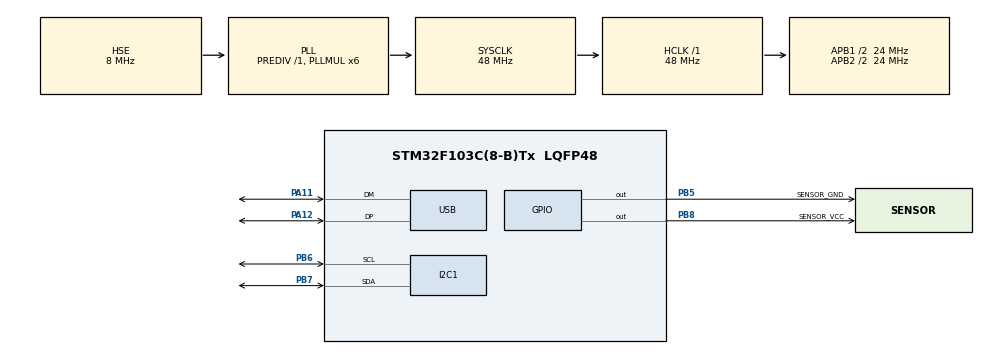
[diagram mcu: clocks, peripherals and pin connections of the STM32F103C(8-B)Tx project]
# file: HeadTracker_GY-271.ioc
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FREERTOS.Tasks01=defaultTask,24,128,StartDefaultTask,Default,NULL,Dynamic,NULL,NULL
FREERTOS.configUSE_NEWLIB_REENTRANT=1
I2C1.I2C_Mode=I2C_Fast
Mcu.Family=STM32F1
Mcu.Name=STM32F103C(8-B)Tx
Mcu.Package=LQFP48
NVIC.PriorityGroup=NVIC_PRIORITYGROUP_4
NVIC.TIM1_UP_IRQn=true\:15\:0\:false\:false\:true\:false\:false\:true\:true
NVIC.TimeBase=TIM1_UP_IRQn
NVIC.TimeBaseIP=TIM1
NVIC.USB_LP_CAN1_RX0_IRQn=true\:5\:0\:false\:false\:true\:true\:false\:true\:true
PA11.Mode=Device
PA11.Signal=USB_DM
PA12.Mode=Device
PA12.Signal=USB_DP
PA13.Mode=Serial_Wire
PA13.Signal=SYS_JTMS-SWDIO
PA14.Mode=Serial_Wire
PA14.Signal=SYS_JTCK-SWCLK
PB5.GPIO_Label=SENSOR_GND
PB5.GPIO_PuPd=GPIO_PULLDOWN
PB5.Signal=GPIO_Output
PB6.Mode=I2C
PB6.Signal=I2C1_SCL
PB7.Mode=I2C
PB7.Signal=I2C1_SDA
PB8.GPIO_Label=SENSOR_VCC
PB8.GPIO_PuPd=GPIO_PULLUP
PB8.Signal=GPIO_Output
PD0-OSC_IN.Mode=HSE-External-Oscillator
PD0-OSC_IN.Signal=RCC_OSC_IN
PD1-OSC_OUT.Mode=HSE-External-Oscillator
PD1-OSC_OUT.Signal=RCC_OSC_OUT
ProjectManager.HeapSize=0x200
ProjectManager.StackSize=0x400
ProjectManager.TargetToolchain=STM32CubeIDE
RCC.AHBFreq_Value=48000000
RCC.APB1CLKDivider=RCC_HCLK_DIV2
RCC.APB1Freq_Value=24000000
RCC.APB1TimFreq_Value=48000000
RCC.APB2CLKDivider=RCC_HCLK_DIV2
RCC.APB2Freq_Value=24000000
RCC.APB2TimFreq_Value=48000000
RCC.HCLKFreq_Value=48000000
RCC.PLLMUL=RCC_PLL_MUL6
RCC.PLLSourceVirtual=RCC_PLLSOURCE_HSE
RCC.SYSCLKFreq_VALUE=48000000
RCC.SYSCLKSource=RCC_SYSCLKSOURCE_PLLCLK
RCC.USBFreq_Value=48000000
USB_DEVICE.CLASS_NAME_FS=CUSTOM_HID
USB_DEVICE.PID_CUSTOMHID_FS=22359
USB_DEVICE.PRODUCT_STRING_CUSTOMHID_FS=HeadTracker
USB_DEVICE.VirtualMode=CustomHid
USB_DEVICE.VirtualModeFS=Custom_Hid_FS
VP_FREERTOS_VS_CMSIS_V2.Mode=CMSIS_V2
VP_SYS_VS_tim1.Mode=TIM1
VP_USB_DEVICE_VS_USB_DEVICE_CUSTOM_HID_FS.Mode=CUSTOM_HID_FS
board=custom

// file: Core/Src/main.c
/* USER CODE BEGIN Header */
/**
  ******************************************************************************
  * @file           : main.c
  * @brief          : Main program body
  ******************************************************************************
  * @attention
  *
  * Copyright (c) 2023 STMicroelectronics.
  * All rights reserved.
  *
  * This software is licensed under terms that can be found in the LICENSE file
  * in the root directory of this software component.
  * If no LICENSE file comes with this software, it is provided AS-IS.
  *
  ******************************************************************************
  */
/* USER CODE END Header */
#include "main.h"
#include "cmsis_os.h"
#include "usb_device.h"

/* USER CODE BEGIN Includes */
#include "qmc5883l.h"
#include "usbd_custom_hid_if.h"
/* USER CODE END Includes */

I2C_HandleTypeDef hi2c1;

/* Definitions for defaultTask */
osThreadId_t defaultTaskHandle;
const osThreadAttr_t defaultTask_attributes = {
  .name = "defaultTask",
  .stack_size = 128 * 4,
  .priority = (osPriority_t) osPriorityNormal,
};
/* USER CODE BEGIN PV */
static JoyReport report;
/* USER CODE END PV */

void SystemClock_Config(void);
static void MX_GPIO_Init(void);
static void MX_I2C1_Init(void);
void StartDefaultTask(void *argument);

int main(void)
{

  /* MCU Configuration--------------------------------------------------------*/

  /* Reset of all peripherals, Initializes the Flash interface and the Systick. */
  HAL_Init();

  /* Configure the system clock */
  SystemClock_Config();

  /* Initialize all configured peripherals */
  MX_GPIO_Init();
  MX_I2C1_Init();

  /* Init scheduler */
  osKernelInitialize();

  /* Create the thread(s) */
  /* creation of defaultTask */
  defaultTaskHandle = osThreadNew(StartDefaultTask, NULL, &defaultTask_attributes);

  /* Start scheduler */
  osKernelStart();

  /* We should never get here as control is now taken by the scheduler */
  /* Infinite loop */
  while (1)
  {

  }
}

void SystemClock_Config(void)
{
  RCC_OscInitTypeDef RCC_OscInitStruct = {0};
  RCC_ClkInitTypeDef RCC_ClkInitStruct = {0};
  RCC_PeriphCLKInitTypeDef PeriphClkInit = {0};

  /** Initializes the RCC Oscillators according to the specified parameters
  * in the RCC_OscInitTypeDef structure.
  */
  RCC_OscInitStruct.OscillatorType = RCC_OSCILLATORTYPE_HSE;
  RCC_OscInitStruct.HSEState = RCC_HSE_ON;
  RCC_OscInitStruct.HSEPredivValue = RCC_HSE_PREDIV_DIV1;
  RCC_OscInitStruct.HSIState = RCC_HSI_ON;
  RCC_OscInitStruct.PLL.PLLState = RCC_PLL_ON;
  RCC_OscInitStruct.PLL.PLLSource = RCC_PLLSOURCE_HSE;
  RCC_OscInitStruct.PLL.PLLMUL = RCC_PLL_MUL6;
  if (HAL_RCC_OscConfig(&RCC_OscInitStruct) != HAL_OK)
  {
    Error_Handler();
  }

  /** Initializes the CPU, AHB and APB buses clocks
  */
  RCC_ClkInitStruct.ClockType = RCC_CLOCKTYPE_HCLK|RCC_CLOCKTYPE_SYSCLK
                              |RCC_CLOCKTYPE_PCLK1|RCC_CLOCKTYPE_PCLK2;
  RCC_ClkInitStruct.SYSCLKSource = RCC_SYSCLKSOURCE_PLLCLK;
  RCC_ClkInitStruct.AHBCLKDivider = RCC_SYSCLK_DIV1;
  RCC_ClkInitStruct.APB1CLKDivider = RCC_HCLK_DIV2;
  RCC_ClkInitStruct.APB2CLKDivider = RCC_HCLK_DIV2;

  if (HAL_RCC_ClockConfig(&RCC_ClkInitStruct, FLASH_LATENCY_1) != HAL_OK)
  {
    Error_Handler();
  }
  PeriphClkInit.PeriphClockSelection = RCC_PERIPHCLK_USB;
  PeriphClkInit.UsbClockSelection = RCC_USBCLKSOURCE_PLL;
  if (HAL_RCCEx_PeriphCLKConfig(&PeriphClkInit) != HAL_OK)
  {
    Error_Handler();
  }
}

static void MX_I2C1_Init(void)
{

  hi2c1.Instance = I2C1;
  hi2c1.Init.ClockSpeed = 400000;
  hi2c1.Init.DutyCycle = I2C_DUTYCYCLE_2;
  hi2c1.Init.OwnAddress1 = 0;
  hi2c1.Init.AddressingMode = I2C_ADDRESSINGMODE_7BIT;
  hi2c1.Init.DualAddressMode = I2C_DUALADDRESS_DISABLE;
  hi2c1.Init.OwnAddress2 = 0;
  hi2c1.Init.GeneralCallMode = I2C_GENERALCALL_DISABLE;
  hi2c1.Init.NoStretchMode = I2C_NOSTRETCH_DISABLE;
  if (HAL_I2C_Init(&hi2c1) != HAL_OK)
  {
    Error_Handler();
  }

}

static void MX_GPIO_Init(void)
{
  GPIO_InitTypeDef GPIO_InitStruct = {0};

  /* GPIO Ports Clock Enable */
  __HAL_RCC_GPIOC_CLK_ENABLE();
  __HAL_RCC_GPIOD_CLK_ENABLE();
  __HAL_RCC_GPIOA_CLK_ENABLE();
  __HAL_RCC_GPIOB_CLK_ENABLE();

  /*Configure GPIO pin Output Level */
  HAL_GPIO_WritePin(GPIOB, SENSOR_GND_Pin|SENSOR_VCC_Pin, GPIO_PIN_RESET);

  /*Configure GPIO pins : PC13 PC14 PC15 */
  GPIO_InitStruct.Pin = GPIO_PIN_13|GPIO_PIN_14|GPIO_PIN_15;
  GPIO_InitStruct.Mode = GPIO_MODE_ANALOG;
  HAL_GPIO_Init(GPIOC, &GPIO_InitStruct);

  /*Configure GPIO pins : PA0 PA1 PA2 PA3
                           PA4 PA5 PA6 PA7
                           PA8 PA9 PA10 PA15 */
  GPIO_InitStruct.Pin = GPIO_PIN_0|GPIO_PIN_1|GPIO_PIN_2|GPIO_PIN_3
                          |GPIO_PIN_4|GPIO_PIN_5|GPIO_PIN_6|GPIO_PIN_7
                          |GPIO_PIN_8|GPIO_PIN_9|GPIO_PIN_10|GPIO_PIN_15;
  GPIO_InitStruct.Mode = GPIO_MODE_ANALOG;
  HAL_GPIO_Init(GPIOA, &GPIO_InitStruct);

  /*Configure GPIO pins : PB0 PB1 PB2 PB10
                           PB11 PB12 PB13 PB14
                           PB15 PB3 PB4 PB9 */
  GPIO_InitStruct.Pin = GPIO_PIN_0|GPIO_PIN_1|GPIO_PIN_2|GPIO_PIN_10
                          |GPIO_PIN_11|GPIO_PIN_12|GPIO_PIN_13|GPIO_PIN_14
                          |GPIO_PIN_15|GPIO_PIN_3|GPIO_PIN_4|GPIO_PIN_9;
  GPIO_InitStruct.Mode = GPIO_MODE_ANALOG;
  HAL_GPIO_Init(GPIOB, &GPIO_InitStruct);

  /*Configure GPIO pin : SENSOR_GND_Pin */
  GPIO_InitStruct.Pin = SENSOR_GND_Pin;
  GPIO_InitStruct.Mode = GPIO_MODE_OUTPUT_PP;
  GPIO_InitStruct.Pull = GPIO_PULLDOWN;
  GPIO_InitStruct.Speed = GPIO_SPEED_FREQ_LOW;
  HAL_GPIO_Init(SENSOR_GND_GPIO_Port, &GPIO_InitStruct);

  /*Configure GPIO pin : SENSOR_VCC_Pin */
  GPIO_InitStruct.Pin = SENSOR_VCC_Pin;
  GPIO_InitStruct.Mode = GPIO_MODE_OUTPUT_PP;
  GPIO_InitStruct.Pull = GPIO_PULLUP;
  GPIO_InitStruct.Speed = GPIO_SPEED_FREQ_LOW;
  HAL_GPIO_Init(SENSOR_VCC_GPIO_Port, &GPIO_InitStruct);

/* USER CODE BEGIN MX_GPIO_Init_2 */
  HAL_Delay(100);
/* USER CODE END MX_GPIO_Init_2 */
}

void StartDefaultTask(void *argument)
{
  /* init code for USB_DEVICE */
  MX_USB_DEVICE_Init();
  /* USER CODE BEGIN 5 */

  while (1 == init_qmc5883l(
      &hi2c1,
      CONTROL_1_MODE_CONTINUOUS | CONTROL_1_ODR_200HZ | CONTROL_1_RNG_8G | CONTROL_1_OSR_512,
      CONTROL_2_INT_ENB_DISABLE | CONTROL_2_ROL_PNT_NORMAL | CONTROL_2_SOFT_RST_NORMAL))
  {
    osDelay(1);
  }

  /* Infinite loop */
  while (1)
  {
    int16_t x = 0;
    int16_t y = 0;
    /* USER CODE END WHILE */

    /* USER CODE BEGIN 3 */
    get_data_from_qmc5883l(&x, &y, NULL);

    report.axis[0] = x;
    report.axis[1] = y;

    USB_SendReport(&report);
    osDelay(10);
  }
  /* USER CODE END 5 */
}

void HAL_TIM_PeriodElapsedCallback(TIM_HandleTypeDef *htim)
{
  if (htim->Instance == TIM1) {
    HAL_IncTick();
  }
}

void Error_Handler(void)
{
  __disable_irq();
  while (1)
  {
  }
}
